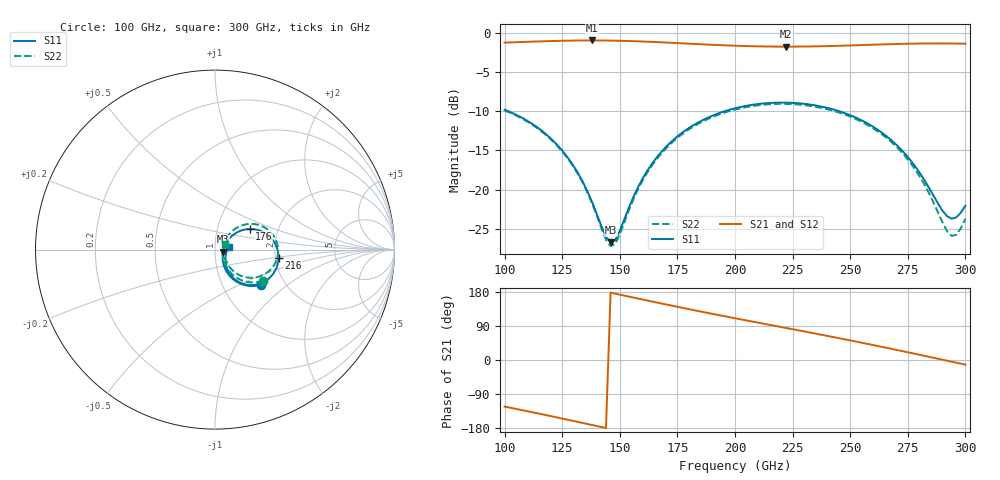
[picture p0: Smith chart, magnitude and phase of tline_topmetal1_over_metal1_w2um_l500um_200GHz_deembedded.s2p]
! Created with skrf 2.0.1 (http://scikit-rf.org).
# GHz S DB R 50.0
!freq dBS11 angS11 dBS21 angS21 dBS12 angS12 dBS22 angS22
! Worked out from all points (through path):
!   101 points, 100 GHz to 300 GHz, reference 50 ohm
!   highest |S21| = -1.01 dB at 138 GHz (marker M1); lowest = -1.8 dB at 222 GHz (marker M2)
!   group delay of S21, straight-line fit = 3.42 ps
!   lowest |S11| = -26.7 dB at 146 GHz (marker M3), VSWR 1.10, Z = 54.7 - j1.33 ohm
!   |S11| at or under -10 dB: 101.6 GHz to 195.6 GHz (94 GHz wide, 63.3 % of centre); 245.2 GHz to end of sweep
!   |S22| runs from -27.2 to -9.1 dB; largest |S21 - S12| = 9.5e-14
!   S11 on the Smith chart (normalised r, x): 100 GHz: 1.52, -0.66; 176 GHz: 1.43, +0.35; 216 GHz: 2.08, -0.23; 300 GHz: 1.17, +0.04
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100  -9.81 -37.4  -1.28 -122.9  -1.28 -122.9  -9.91 -32.8
120  -13.46 -56.4  -1.09 -148.0  -1.09 -148.0  -13.57 -51.1
128  -16.14 -61.5  -1.03 -158.4  -1.03 -158.4  -16.25 -56.0
134  -19.02 -61.8  -1.01 -166.3  -1.01 -166.3  -19.15 -56.3
138  -21.58 -57.5  -1.01 -171.6  -1.01 -171.6  -21.74 -52.2
144  -25.97 -31.9  -1.02 -179.5  -1.02 -179.5  -26.34 -26.6
146  -26.69 -15.2  -1.03 177.8  -1.03 177.8  -27.17 -9.3
148  -26.37 2.4  -1.04 175.2  -1.04 175.2  -26.87 9.3
160  -18.52 38.8  -1.14 159.5  -1.14 159.5  -18.75 47.2
168  -15.19 36.7  -1.24 149.2  -1.24 149.2  -15.38 45.3
176  -12.98 30.8  -1.36 139.2  -1.36 139.2  -13.15 39.6
200  -9.63 8.0  -1.68 110.2  -1.68 110.2  -9.79 17.7
216  -8.94 -7.8  -1.78 91.6  -1.78 91.6  -9.10 2.2
222  -8.91 -13.8  -1.79 84.7  -1.79 84.7  -9.07 -3.6
234  -9.22 -25.7  -1.76 70.7  -1.76 70.7  -9.38 -15.2
252  -10.75 -42.9  -1.62 49.3  -1.62 49.3  -10.93 -32.3
268  -13.73 -55.6  -1.48 29.3  -1.48 29.3  -13.96 -45.8
280  -17.77 -58.0  -1.40 13.9  -1.40 13.9  -18.21 -50.0
290  -22.62 -38.2  -1.39 0.8  -1.39 0.8  -24.11 -31.7
294  -23.67 -17.7  -1.39 -4.4  -1.39 -4.4  -25.86 -6.7
296  -23.51 -6.4  -1.40 -7.0  -1.40 -7.0  -25.72 8.3
300  -22.03 11.7  -1.42 -12.2  -1.42 -12.2  -23.70 31.1
